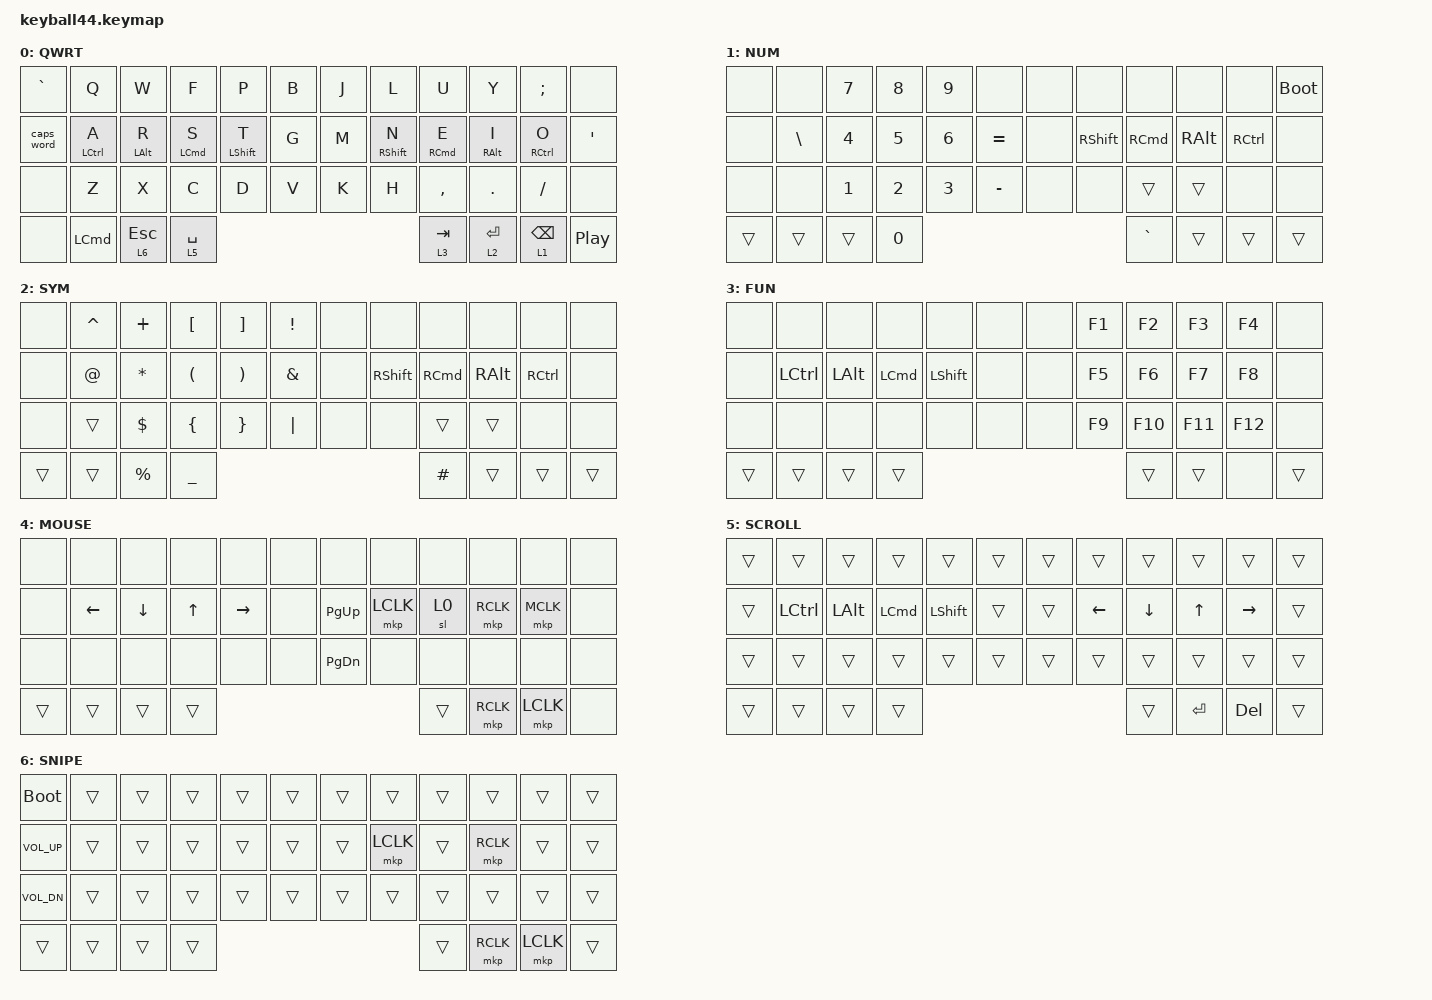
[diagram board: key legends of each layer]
#define DEFAULT 0
#define NUM     1
#define SYM     2
#define FUN     3
#define MOUSE   4
#define SCROLL  5
#define SNIPE   6

#include <behaviors/mouse_keys.dtsi>
#include <dt-bindings/zmk/mouse.h>
#include <behaviors.dtsi>
#include <dt-bindings/zmk/keys.h>

&nice_view_spi { cs-gpios = <&pro_micro 1 GPIO_ACTIVE_HIGH>; };

&lt {
    tapping-term-ms = <240>;
    flavor = "balanced";
    quick-tap-ms = <150>;
};

&mt {
    tapping-term-ms = <200>;
    flavor = "tap-preferred";
    quick-tap-ms = <150>;
};

&caps_word { continue-list = <UNDERSCORE MINUS>; };

/ {
    // custom shift using mod-morph 

    behaviors {
        cmqus: comma_question {
            compatible = "zmk,behavior-mod-morph";
            label = "COMMA_QUESTION";
            #binding-cells = <0>;
            bindings = <&kp COMMA>, <&kp QUESTION>;

            mods = <(MOD_LSFT|MOD_RSFT)>;
        };

        dtsmi: dot_semi {
            compatible = "zmk,behavior-mod-morph";
            label = "DOT_SEMI";
            #binding-cells = <0>;
            bindings = <&kp DOT>, <&kp SEMI>;

            mods = <(MOD_LSFT|MOD_RSFT)>;
        };

        hml: hml {
            compatible = "zmk,behavior-hold-tap";
            label = "HML";
            bindings = <&kp>, <&kp>;

            #binding-cells = <2>;
            tapping-term-ms = <280>;
            quick-tap-ms = <175>;
            require-prior-idle-ms = <150>;
            flavor = "balanced";
            hold-trigger-key-positions = <38 39 40 41 42 6 7 8 9 10 11 18 19 20 21 22 23 30 31 32 33 34 35 41 42 43>;
            hold-trigger-on-release;
        };

        hmr: hmr {
            compatible = "zmk,behavior-hold-tap";
            label = "HMR";
            bindings = <&kp>, <&kp>;

            #binding-cells = <2>;
            tapping-term-ms = <280>;
            quick-tap-ms = <175>;
            require-prior-idle-ms = <150>;
            flavor = "balanced";
            hold-trigger-key-positions = <0 1 2 3 4 5 12 13 14 15 16 17 24 25 26 27 28 29 36 37 38 39 40 41 42>;
            hold-trigger-on-release;
        };
    };

    combos {
        compatible = "zmk,combos";

        default_bootloader_r {
            bindings = <&bootloader>;
            key-positions = <10 11>;
        };

        default_bootloader_l {
            bindings = <&bootloader>;
            key-positions = <0 1>;
        };
    };

    keymap {
        compatible = "zmk,keymap";

        default_layer {
            label = "QWRT";
            bindings = <
&kp GRAVE   &kp Q               &kp W           &kp F               &kp P             &kp B                   &kp J            &kp L              &kp U                &kp Y            &kp SEMI              &none
&caps_word  &mt LEFT_CONTROL A  &mt LEFT_ALT R  &mt LEFT_COMMAND S  &mt LEFT_SHIFT T  &kp G                   &kp M            &mt RIGHT_SHIFT N  &mt RIGHT_COMMAND E  &mt RIGHT_ALT I  &hmr RIGHT_CONTROL O  &kp SQT
&none       &kp Z               &kp X           &kp C               &kp D             &kp V                   &kp K            &kp H              &kp COMMA            &kp DOT          &kp SLASH             &none
&none       &kp LEFT_COMMAND    &lt 6 ESCAPE    &lt 5 SPACE         &lt 3 TAB                    &lt 2 ENTER  &lt 1 BACKSPACE                                                                                 &kp C_PLAY_PAUSE
            >;
        };

        number_layer {
            label = "NUM";
            bindings = <
&none   &none          &kp NUMBER_7  &kp NUMBER_8  &kp NUMBER_9  &none                  &none   &none            &none              &none          &none      &bootloader
&none   &kp BACKSLASH  &kp NUMBER_4  &kp N5        &kp NUMBER_6  &kp EQUAL              &none   &kp RIGHT_SHIFT  &kp RIGHT_COMMAND  &kp RIGHT_ALT  &kp RCTRL  &none
&none   &none          &kp NUMBER_1  &kp NUMBER_2  &kp NUMBER_3  &kp MINUS              &none   &none            &trans             &trans         &none      &none
&trans  &trans         &trans        &kp N0        &kp GRAVE                    &trans  &trans                                                                &trans
            >;
        };

        symbol_layer {
            label = "SYM";
            bindings = <
&none   &kp CARET    &kp PLUS      &kp LEFT_BRACKET      &kp RIGHT_BRACKET      &kp EXCLAMATION              &none   &none            &none              &none          &none              &none
&none   &kp AT_SIGN  &kp ASTERISK  &kp LEFT_PARENTHESIS  &kp RIGHT_PARENTHESIS  &kp AMPERSAND                &none   &kp RIGHT_SHIFT  &kp RIGHT_COMMAND  &kp RIGHT_ALT  &kp RIGHT_CONTROL  &none
&none   &trans       &kp DOLLAR    &kp LEFT_BRACE        &kp RIGHT_BRACE        &kp PIPE                     &none   &none            &trans             &trans         &none              &none
&trans  &trans       &kp PERCENT   &kp UNDERSCORE        &kp HASH                                    &trans  &trans                                                                        &trans
            >;
        };

        function_layer {
            label = "FUN";
            bindings = <
&none   &none             &none         &none             &none           &none              &none  &kp F1  &kp F2   &kp F3   &kp F4   &none
&none   &kp LEFT_CONTROL  &kp LEFT_ALT  &kp LEFT_COMMAND  &kp LEFT_SHIFT  &none              &none  &kp F5  &kp F6   &kp F7   &kp F8   &none
&none   &none             &none         &none             &none           &none              &none  &kp F9  &kp F10  &kp F11  &kp F12  &none
&trans  &trans            &trans        &trans            &trans                     &trans  &none                                     &trans
            >;
        };

        mouse_layer {
            label = "MOUSE";
            bindings = <
&none   &none           &none           &none         &none      &none                 &none          &none      &none  &none      &none      &none
&none   &kp LEFT_ARROW  &kp DOWN_ARROW  &kp UP_ARROW  &kp RIGHT  &none                 &kp PAGE_UP    &mkp LCLK  &sl 0  &mkp RCLK  &mkp MCLK  &none
&none   &none           &none           &none         &none      &none                 &kp PAGE_DOWN  &none      &none  &none      &none      &none
&trans  &trans          &trans          &trans        &trans                &mkp RCLK  &mkp LCLK                                              &none
            >;
        };

        scroll_layer {
            label = "SCROLL";
            bindings = <
&trans  &trans            &trans        &trans            &trans          &trans                 &trans      &trans    &trans    &trans        &trans     &trans
&trans  &kp LEFT_CONTROL  &kp LEFT_ALT  &kp LEFT_COMMAND  &kp LEFT_SHIFT  &trans                 &trans      &kp LEFT  &kp DOWN  &kp UP_ARROW  &kp RIGHT  &trans
&trans  &trans            &trans        &trans            &trans          &trans                 &trans      &trans    &trans    &trans        &trans     &trans
&trans  &trans            &trans        &trans            &trans                      &kp ENTER  &kp DELETE                                               &trans
            >;
        };

        snipe_layer {
            label = "SNIPE";
            bindings = <
&bootloader      &trans  &trans  &trans  &trans  &trans                 &trans     &trans     &trans  &trans     &trans  &trans
&kp C_VOLUME_UP  &trans  &trans  &trans  &trans  &trans                 &trans     &mkp LCLK  &trans  &mkp RCLK  &trans  &trans
&kp C_VOL_DN     &trans  &trans  &trans  &trans  &trans                 &trans     &trans     &trans  &trans     &trans  &trans
&trans           &trans  &trans  &trans  &trans              &mkp RCLK  &mkp LCLK                                        &trans
            >;
        };
    };
};
